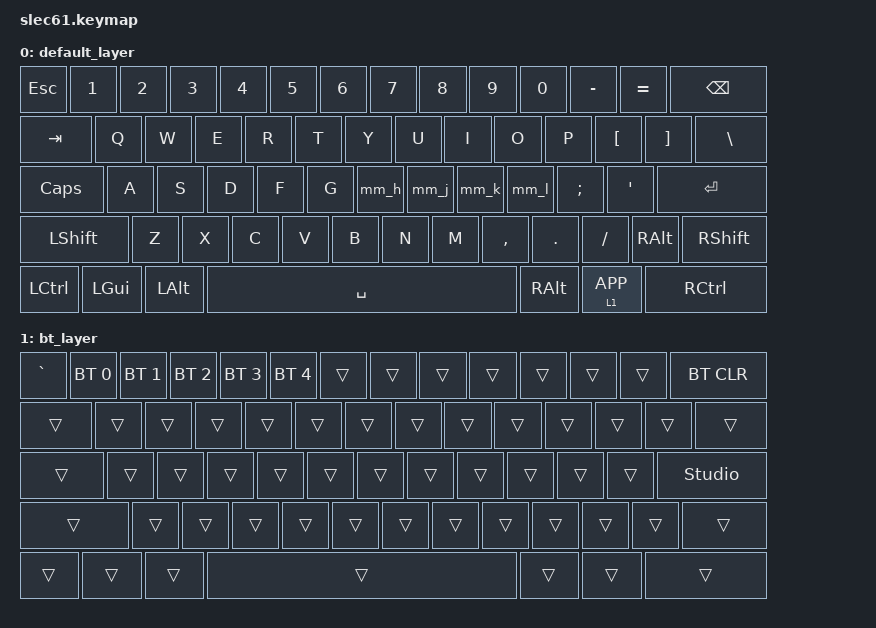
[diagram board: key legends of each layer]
#include <behaviors.dtsi>
#include <dt-bindings/zmk/keys.h>
#include <dt-bindings/zmk/bt.h>

/ {
    behaviors {
        mm_h: mm_h {
            compatible = "zmk,behavior-mod-morph";
            #binding-cells = <0>;
            bindings = <&kp H>, <&kp LEFT>;
            mods = <(MOD_LALT|MOD_RALT)>;
        };
        mm_j: mm_j {
            compatible = "zmk,behavior-mod-morph";
            #binding-cells = <0>;
            bindings = <&kp J>, <&kp DOWN>;
            mods = <(MOD_LALT|MOD_RALT)>;
        };
        mm_k: mm_k {
            compatible = "zmk,behavior-mod-morph";
            #binding-cells = <0>;
            bindings = <&kp K>, <&kp UP>;
            mods = <(MOD_LALT|MOD_RALT)>;
        };
        mm_l: mm_l {
            compatible = "zmk,behavior-mod-morph";
            #binding-cells = <0>;
            bindings = <&kp L>, <&kp RIGHT>;
            mods = <(MOD_LALT|MOD_RALT)>;
        };
    };

    keymap {
        compatible = "zmk,keymap";

        default_layer {
            bindings = <
&kp ESC   &kp N1    &kp N2   &kp N3   &kp N4   &kp N5   &kp N6   &kp N7   &kp N8   &kp N9    &kp N0   &kp MINUS &kp EQUAL &kp BSPC
&kp TAB     &kp Q     &kp W    &kp E    &kp R    &kp T    &kp Y    &kp U    &kp I    &kp O     &kp P    &kp LBKT  &kp RBKT  &kp BSLH
&kp CAPS      &kp A     &kp S    &kp D    &kp F    &kp G    &mm_h    &mm_j    &mm_k    &mm_l     &kp SEMI &kp SQT             &kp RET
&kp LSHFT       &kp Z     &kp X    &kp C    &kp V    &kp B    &kp N    &kp M    &kp COMMA &kp DOT  &kp FSLH  &kp RALT         &kp RSHFT
&kp LCTRL   &kp LGUI  &kp LALT                      &kp SPACE                        &kp RALT            &lt 1 K_APP &kp RCTRL
            >;
        };

        bt_layer {
            bindings = <
&kp GRAVE &bt BT_SEL 0 &bt BT_SEL 1 &bt BT_SEL 2 &bt BT_SEL 3 &bt BT_SEL 4 &trans   &trans   &trans   &trans    &trans   &trans    &trans    &bt BT_CLR
&trans      &trans       &trans       &trans       &trans       &trans       &trans   &trans   &trans   &trans    &trans   &trans    &trans    &trans
&trans        &trans       &trans       &trans       &trans       &trans       &trans   &trans   &trans   &trans    &trans   &trans              &studio_unlock
&trans          &trans       &trans       &trans       &trans       &trans       &trans   &trans   &trans   &trans   &trans   &trans             &trans
&trans      &trans    &trans                            &trans                           &trans              &trans          &trans
            >;
        };
    };
};
